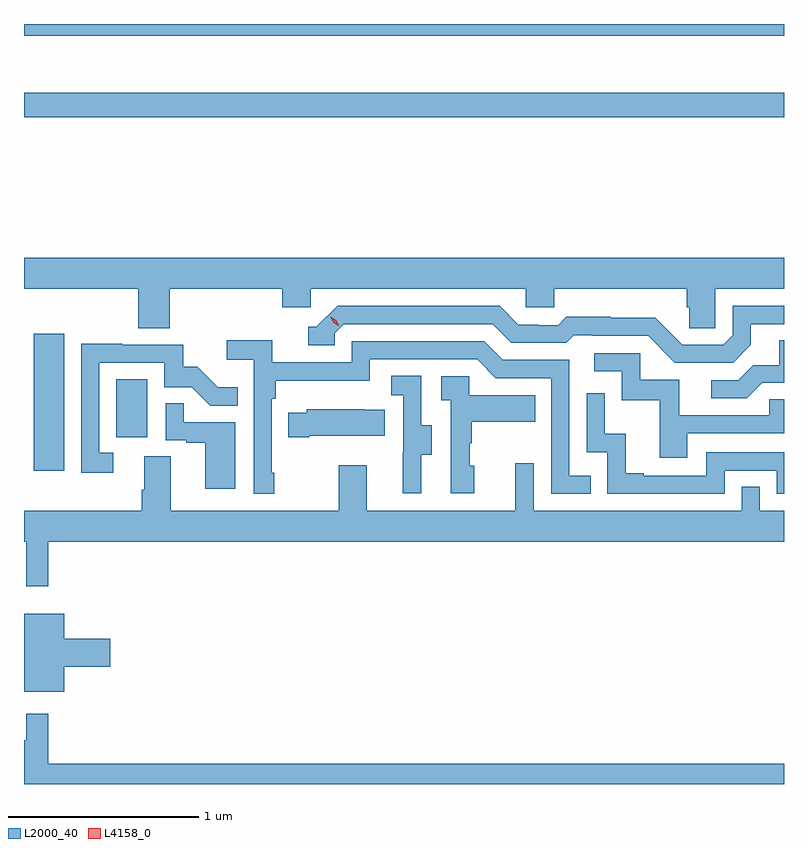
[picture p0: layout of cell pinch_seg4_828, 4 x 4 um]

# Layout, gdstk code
import gdstk
lib = gdstk.Library(unit=1e-6, precision=1e-09)
def R(c, l, rs):  # rectangles x0, y0, x1, y1
    for r in rs: c.add(gdstk.rectangle(r[:2], r[2:], *l))
def P(c, l, *ps):  # polygons
    for p in ps: c.add(gdstk.Polygon(p, *l))
L2000_40 = (2000, 40)
L4158_0 = (4158, 0)

pinch_seg4_828 = lib.new_cell('pinch_seg4_828')
R(pinch_seg4_828, L2000_40, [(855.971,809.184,856.132,809.905), (856.406,809.358,856.57,809.665), (855.921,811.042,859.921,811.171), (855.921,811.472,859.921,811.534)])
P(pinch_seg4_828, L2000_40, [(856.688,810.14),(857.279,810.14),(857.279,810.042),(857.43,810.042),(857.43,810.14),(858.561,810.14),(858.561,810.042),(858.711,810.042),(858.711,810.14),(859.409,810.14),(859.409,810.042),(859.423,810.042),(859.423,809.932),(859.56,809.932),(859.56,810.14),(859.921,810.14),(859.921,810.304),(855.921,810.304),(855.921,810.14),(856.523,810.14),(856.523,809.932),(856.688,809.932)],
  [(859.747,809.845),(859.747,809.955),(859.921,809.955),(859.921,810.051),(859.65,810.051),(859.65,809.895),(859.602,809.847),(859.386,809.847),(859.244,809.989),(859.008,809.989),(859.008,809.992),(858.775,809.992),(858.733,809.949),(858.63,809.949),(858.63,809.952),(858.523,809.952),(858.424,810.051),(857.571,810.051),(857.46,809.94),(857.417,809.94),(857.417,809.844),(857.556,809.844),(857.556,809.907),(857.604,809.955),(858.387,809.955),(858.486,809.856),(858.775,809.856),(858.814,809.895),(858.913,809.895),(858.913,809.892),(859.206,809.892),(859.347,809.751),(859.653,809.751)],
  [(859.807,809.646),(859.921,809.646),(859.921,809.87),(859.895,809.87),(859.895,809.738),(859.76,809.738),(859.68,809.658),(859.539,809.658),(859.539,809.565),(859.726,809.565)],
  [(857.239,809.173),(857.226,809.173),(857.226,809.561),(857.246,809.561),(857.246,809.657),(857.742,809.657),(857.742,809.769),(858.306,809.769),(858.405,809.67),(858.696,809.67),(858.696,809.061),(858.905,809.061),(858.905,809.157),(858.792,809.157),(858.792,809.766),(858.442,809.766),(858.343,809.865),(857.646,809.865),(857.646,809.754),(857.228,809.754),(857.228,809.87),(856.989,809.87),(856.989,809.768),(857.13,809.768),(857.13,809.061),(857.239,809.061)],
  [(856.39,809.277),(856.317,809.277),(856.317,809.751),(856.659,809.751),(856.659,809.622),(856.803,809.622),(856.901,809.524),(857.045,809.524),(857.045,809.623),(856.941,809.623),(856.834,809.73),(856.758,809.73),(856.758,809.847),(856.439,809.847),(856.439,809.852),(856.221,809.852),(856.221,809.172),(856.39,809.172)],
  [(859.411,809.379),(859.921,809.379),(859.921,809.559),(859.843,809.559),(859.843,809.475),(859.369,809.475),(859.369,809.661),(859.164,809.661),(859.164,809.802),(858.921,809.802),(858.921,809.706),(859.068,809.706),(859.068,809.553),(859.267,809.553),(859.267,809.25),(859.411,809.25)],
  [(858.013,809.266),(858.067,809.266),(858.067,809.421),(858.012,809.421),(858.012,809.684),(857.853,809.684),(857.853,809.581),(857.916,809.581),(857.916,809.277),(857.915,809.277),(857.915,809.064),(858.013,809.064)],
  [(858.292,809.208),(858.267,809.208),(858.267,809.327),(858.277,809.327),(858.277,809.441),(858.611,809.441),(858.611,809.581),(858.264,809.581),(858.264,809.679),(858.117,809.679),(858.117,809.555),(858.168,809.555),(858.168,809.064),(858.292,809.064)],
  [(859.608,809.184),(859.884,809.184),(859.884,809.061),(859.921,809.061),(859.921,809.28),(859.512,809.28),(859.512,809.157),(859.183,809.157),(859.183,809.17),(859.088,809.17),(859.088,809.378),(858.978,809.378),(858.978,809.59),(858.882,809.59),(858.882,809.28),(858.99,809.28),(858.99,809.061),(859.608,809.061)],
  [(857.032,809.439),(856.763,809.439),(856.763,809.537),(856.668,809.537),(856.668,809.343),(856.775,809.343),(856.775,809.331),(856.874,809.331),(856.874,809.088),(857.032,809.088)],
  [(857.422,809.366),(857.819,809.366),(857.819,809.503),(857.711,809.503),(857.711,809.506),(857.409,809.506),(857.409,809.488),(857.311,809.488),(857.311,809.359),(857.422,809.359)],
  [(856.049,808.808),(859.921,808.808),(859.921,808.972),(859.794,808.972),(859.794,809.099),(859.698,809.099),(859.698,808.972),(858.603,808.972),(858.603,809.221),(858.506,809.221),(858.506,808.972),(857.725,808.972),(857.725,809.212),(857.578,809.212),(857.578,808.972),(856.693,808.972),(856.693,809.258),(856.553,809.258),(856.553,809.084),(856.541,809.084),(856.541,808.972),(855.921,808.972),(855.921,808.808),(855.932,808.808),(855.932,808.575),(856.049,808.575)],
  [(856.132,808.151),(856.375,808.151),(856.375,808.298),(856.132,808.298),(856.132,808.429),(855.921,808.429),(855.921,808.019),(856.132,808.019)],
  [(859.921,807.64),(856.049,807.64),(856.049,807.904),(855.932,807.904),(855.932,807.764),(855.921,807.764),(855.921,807.534),(859.921,807.534)])
P(pinch_seg4_828, L4158_0, [(857.581,809.942),(857.55,809.961),(857.534,809.993),(857.534,809.994),(857.534,809.994),(857.565,809.975),(857.581,809.943),(857.581,809.942)])

lib.write_gds('pinch_seg4_828.gds')
